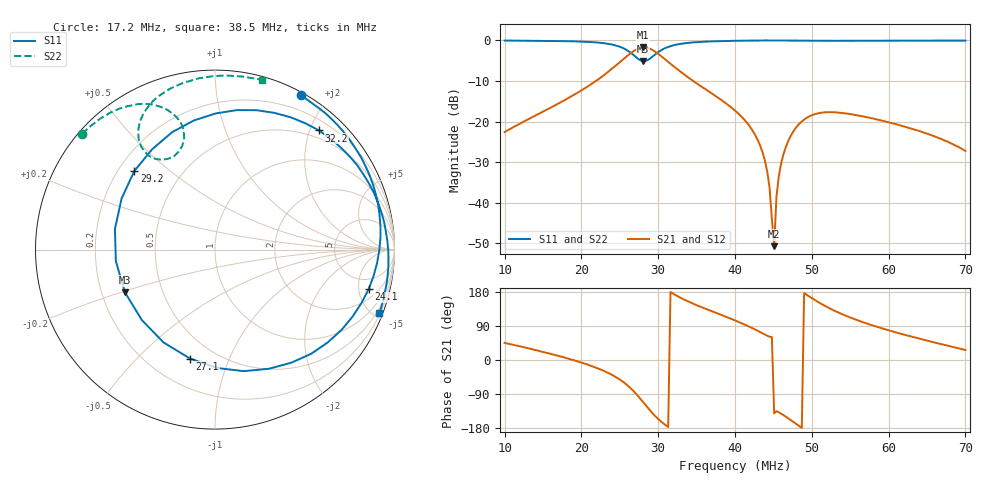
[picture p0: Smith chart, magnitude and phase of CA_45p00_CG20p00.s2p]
#  HZ  S  RI  R  50.00
! Rohde & Schwarz ZVT8 8Ports - Version 4.11 - 1300.0000k08 SN: 100242
! Date: 2026-07-31 15:01:46
! Measurements: S11 S21 S12 S22
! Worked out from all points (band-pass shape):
!   201 points, 10 MHz to 70 MHz, reference 50 ohm
!   highest |S21| = -1.75 dB at 28 MHz (marker M1); lowest = -50.7 dB at 45.1 MHz (marker M2)
!   |S21| within 3 dB of the highest: 25.39 MHz to 30.96 MHz (5.566 MHz wide, 19.8 % of centre)
!   lowest |S11| = -5.1 dB at 28 MHz (marker M3), VSWR 3.50, Z = 14.9 - j10.3 ohm
!   |S11| at or under -10 dB: nowhere
!   |S22| runs from -4.9 to 0.0 dB; largest |S21 - S12| = 0.0033
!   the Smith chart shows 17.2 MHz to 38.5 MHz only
!   S11 on the Smith chart (normalised r, x): 17.2 MHz: 0.03, +1.70; 24.1 MHz: 3.14, -6.35; 27.1 MHz: 0.37, -0.73; 29.2 MHz: 0.26, +0.38; 32.2 MHz: 0.36, +2.15; 38.5 MHz: 0.27, -5.32
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1e7  -0.4009 0.9118  0.052 0.0527  0.0519 0.0528  -0.9196 0.383
1.72e7  0.477 0.859  0.1677 0.0283  0.1676 0.0288  -0.74 0.6448
2.02e7  0.7915 0.5503  0.2459 -0.0348  0.2449 -0.0346  -0.6149 0.7433
2.41e7  0.8558 -0.2212  0.3463 -0.2963  0.3459 -0.2951  -0.361 0.8096
2.71e7  -0.1398 -0.6068  0.0131 -0.7663  0.014 -0.7654  -0.1719 0.6135
2.8e7  -0.5019 -0.2382  -0.2863 -0.7658  -0.286 -0.7657  -0.2293 0.5186
2.92e7  -0.4499 0.437  -0.5797 -0.5016  -0.5799 -0.4996  -0.3641 0.5199
3.01e7  -0.1176 0.7195  -0.6215 -0.256  -0.6201 -0.2559  -0.4232 0.603
3.22e7  0.5788 0.6639  -0.4587 0.0643  -0.4581 0.065  -0.3672 0.8022
3.49e7  0.9275 0.2058  -0.2471 0.1702  -0.247 0.1692  -0.1438 0.9383
3.85e7  0.9148 -0.3556  -0.0798 0.1575  -0.0792 0.1574  0.2618 0.9465
4e7  0.8256 -0.5418  -0.0342 0.132  -0.034 0.132  0.4659 0.8699
4.36e7  0.4974 -0.8635  0.0139 0.039  0.0137 0.0389  0.9365 0.3296
4.45e7  0.3977 -0.9145  0.00733 0.0133  0.00725 0.0133  0.9907 0.0838
4.51e7  0.3303 -0.942  -0.00225 -0.00184  -0.00225 -0.00181  0.987 -0.1034
4.54e7  0.2952 -0.9532  -0.0084 -0.00838  -0.0084 -0.00847  0.9717 -0.2003
4.63e7  0.1891 -0.9791  -0.0322 -0.0222  -0.0322 -0.0222  0.8596 -0.4941
4.84e7  -0.0557 -0.9924  -0.094 -0.00846  -0.0937 -0.00818  0.2369 -0.9578
5.02e7  -0.2565 -0.9571  -0.1145 0.0401  -0.1148 0.0401  -0.3926 -0.9047
5.41e7  -0.6381 -0.7574  -0.0626 0.1105  -0.0625 0.1105  -0.9743 -0.1604
6.01e7  -0.9708 -0.1999  0.0204 0.0951  0.0203 0.0949  -0.8025 0.5811
7e7  -0.6095 0.7872  0.0389 0.0193  0.0388 0.0191  -0.2492 0.9642
